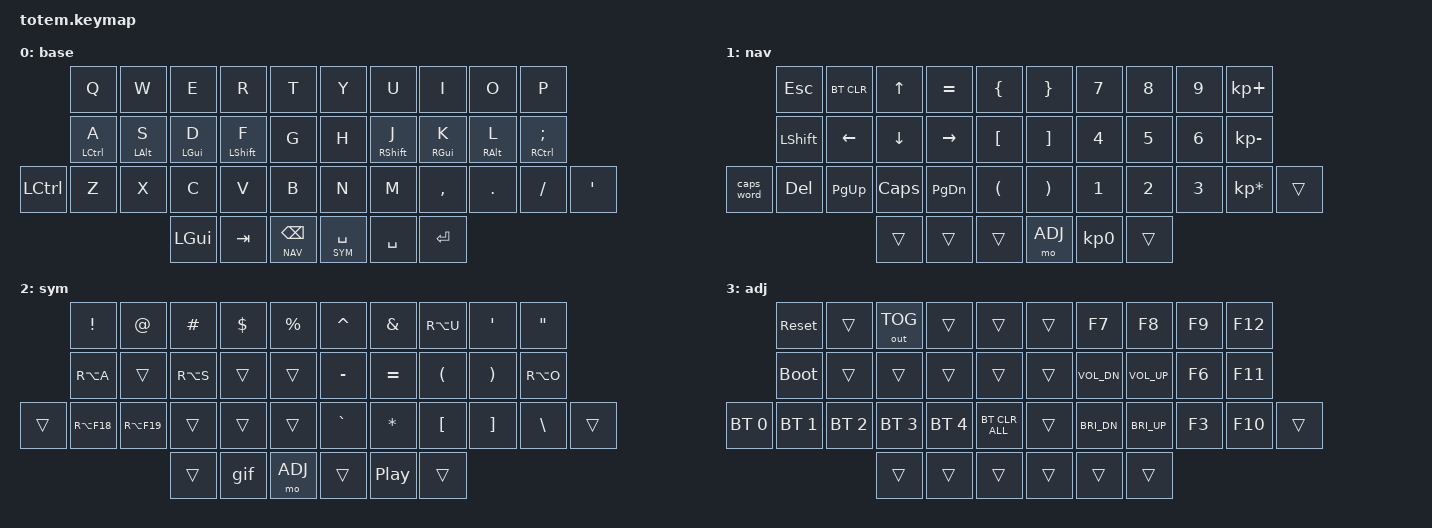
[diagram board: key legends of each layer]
//
//                                                        ▀▀▀▀▀     ▀▀▀▀▀          ▀▀█▀▀
//                                                        ▄▀▀▀▄  ▄  ▄▀▀▀▄  ▄  ▄▀▀▀▄  █  ▄▀▀▀▄
//                                                        █   █  █  █   █  █  █   █  █  █   █
//                                                         ▀▀▀   █   ▀▀▀   █   ▀▀▀   ▀   ▀▀▀
//                                                               █      ▄▄▄█▄▄▄    █   █  
//                                                               ▀      █  █  █     █▄█
//                                                             ▀▀▀▀▀    █  █  █      ▀
//                                                                      ▀  ▀  ▀
//
// ▄▄▄▄▄▄▄▄▄▄▄▄▄▄▄▄▄▄▄▄▄▄▄▄▄▄▄▄▄▄▄▄▄▄▄▄▄▄▄▄▄▄▄▄▄▄▄▄▄▄▄▄▄▄▄▄▄▄▄▄▄▄▄▄▄▄▄▄▄▄▄▄▄▄▄▄▄▄▄▄▄▄▄▄▄▄▄▄▄▄▄▄▄▄▄▄▄▄▄▄▄▄▄▄▄▄▄▄▄▄▄▄▄▄▄▄▄▄▄▄▄▄▄▄▄▄▄▄▄▄▄▄▄▄▄▄▄▄▄▄▄▄▄▄▄▄▄▄▄

#include <behaviors.dtsi>
#include <dt-bindings/zmk/bt.h>
#include <dt-bindings/zmk/keys.h>
#include <dt-bindings/zmk/outputs.h>
#include <dt-bindings/zmk/pointing.h>

#define BASE 0
#define NAV  1
#define SYM  2
#define ADJ  3

&mt {
    quick-tap-ms = <100>;
    global-quick-tap;
    flavor = "tap-preferred";
    tapping-term-ms = <170>;
};

/ {
    combos {
        compatible = "zmk,combos";

        combo_esc {
            timeout-ms = <50>;
            key-positions = <0 1>;
            bindings = <&kp ESC>;
        };
    };

    macros {
        gif: gif {
            label = "giphy";
            compatible = "zmk,behavior-macro";
            #binding-cells = <0>;
            bindings =
                <&macro_press>,
                <&kp LSHFT>,
                <&macro_tap>,
                <&kp N2>,
                <&macro_release>,
                <&kp LSHFT>,
                <&macro_tap>,
                <&kp G &kp I &kp F>;
        };
    };

    keymap {
        compatible = "zmk,keymap";

        // ▄▄▄▄▄▄▄▄▄▄▄▄▄▄▄▄▄▄▄▄▄▄▄▄▄▄▄▄▄▄▄▄▄▄▄▄▄▄▄▄▄▄▄▄▄▄▄▄▄▄▄▄▄▄▄▄▄▄▄▄▄▄▄▄▄▄▄▄▄▄▄▄▄▄▄▄▄▄▄▄▄▄▄▄▄▄▄▄▄▄▄▄▄▄▄▄▄▄▄▄▄▄▄▄▄▄▄▄▄▄▄▄▄▄▄▄▄▄▄▄▄▄▄▄▄▄▄▄▄▄▄▄▄▄▄▄▄▄▄▄▄▄▄▄▄▄▄▄▄

        base_layer {
            display-name = "base";
            // ┏━━━━━━━━━━━━━━━━━━━━━━━━━━━━━━━━━━━━━━━┓

            label = "BASE";

            // ┗━━━━━━━━━━━━━━━━━━━━━━━━━━━━━━━━━━━━━━━┛
            //             ┏━━━━━━━━━━━┳━━━━━━━━━━━┳━━━━━━━━━━━┳━━━━━━━━━━━┳━━━━━━━━━━━┓   ┏━━━━━━━━━━━┳━━━━━━━━━━━┳━━━━━━━━━━━┳━━━━━━━━━━━┳━━━━━━━━━━━┓
            //             ┃     Q     ┃     W     ┃     F     ┃     P     ┃     G     ┃   ┃     J     ┃     L     ┃     U     ┃     Y     ┃     ;     ┃
            //             ┣━━━━━━━━━━━╋━━━━━━━━━━━╋━━━━━━━━━━━╋━━━━━━━━━━━╋━━━━━━━━━━━┫   ┣━━━━━━━━━━━╋━━━━━━━━━━━╋━━━━━━━━━━━╋━━━━━━━━━━━╋━━━━━━━━━━━┫
            //             ┃     A     ┃     R     ┃     S     ┃     T     ┃     D     ┃   ┃     H     ┃     N     ┃     E     ┃     I     ┃     O     ┃
            // ┏━━━━━━━━━━━╋━━━━━━━━━━━╋━━━━━━━━━━━╋━━━━━━━━━━━╋━━━━━━━━━━━╋━━━━━━━━━━━┫   ┣━━━━━━━━━━━╋━━━━━━━━━━━╋━━━━━━━━━━━╋━━━━━━━━━━━╋━━━━━━━━━━━╋━━━━━━━━━━━┓
            // ┃           ┃     Z     ┃     X     ┃     C     ┃     V     ┃     B     ┃   ┃     K     ┃     M     ┃     ,     ┃     .     ┃     /     ┃           ┃
            // ┗━━━━━━━━━━━┻━━━━━━━━━━━┻━━━━━━━━━━━╋━━━━━━━━━━━╋━━━━━━━━━━━╋━━━━━━━━━━━┫   ┣━━━━━━━━━━━╋━━━━━━━━━━━╋━━━━━━━━━━━╋━━━━━━━━━━━┻━━━━━━━━━━━┻━━━━━━━━━━━┛
            //                                     ┃           ┃    TAB    ┃   BSPC    ┃   ┃    SPC    ┃    SPC    ┃   ENTER   ┃
            //                                     ┗━━━━━━━━━━━┻━━━━━━━━━━━┻━━━━━━━━━━━┛   ┗━━━━━━━━━━━┻━━━━━━━━━━━┻━━━━━━━━━━━┛

            bindings = <
                  &kp Q        &kp W       &kp E         &kp R        &kp T            &kp Y          &kp U        &kp I         &kp O       &kp P
                  &mt LCTRL A  &mt LALT S  &mt LGUI D    &mt LSHFT F  &kp G            &kp H          &mt RSHFT J  &mt RGUI K    &mt RALT L  &mt RCTRL SEMI
&kp LEFT_CONTROL  &kp Z        &kp X       &kp C         &kp V        &kp B            &kp N          &kp M        &kp COMMA     &kp DOT     &kp SLASH       &kp APOS
                                           &kp LEFT_GUI  &kp TAB      &lt NAV BSPC     &lt SYM SPACE  &kp SPACE    &kp RET
            >;
        };

        // ▄▄▄▄▄▄▄▄▄▄▄▄▄▄▄▄▄▄▄▄▄▄▄▄▄▄▄▄▄▄▄▄▄▄▄▄▄▄▄▄▄▄▄▄▄▄▄▄▄▄▄▄▄▄▄▄▄▄▄▄▄▄▄▄▄▄▄▄▄▄▄▄▄▄▄▄▄▄▄▄▄▄▄▄▄▄▄▄▄▄▄▄▄▄▄▄▄▄▄▄▄▄▄▄▄▄▄▄▄▄▄▄▄▄▄▄▄▄▄▄▄▄▄▄▄▄▄▄▄▄▄▄▄▄▄▄▄▄▄▄▄▄▄▄▄▄▄▄▄

        nav_layer {
            display-name = "nav";
            // ┏━━━━━━━━━━━━━━━━━━━━━━━━━━━━━━━━━━━━━━━┓

            label = "NAVI";

            // ┗━━━━━━━━━━━━━━━━━━━━━━━━━━━━━━━━━━━━━━━┛
            //             ┏━━━━━━━━━━━┳━━━━━━━━━━━┳━━━━━━━━━━━┳━━━━━━━━━━━┳━━━━━━━━━━━┓   ┏━━━━━━━━━━━┳━━━━━━━━━━━┳━━━━━━━━━━━┳━━━━━━━━━━━┳━━━━━━━━━━━┓
            //             ┃           ┃           ┃     UP    ┃           ┃     {     ┃   ┃     }     ┃     7     ┃     8     ┃     9     ┃     +     ┃
            //             ┣━━━━━━━━━━━╋━━━━━━━━━━━╋━━━━━━━━━━━╋━━━━━━━━━━━╋━━━━━━━━━━━┫   ┣━━━━━━━━━━━╋━━━━━━━━━━━╋━━━━━━━━━━━╋━━━━━━━━━━━╋━━━━━━━━━━━┫
            //             ┃   SHIFT   ┃   LEFT    ┃    DOWN   ┃   RIGHT   ┃     [     ┃   ┃     ]     ┃     4     ┃     5     ┃     6     ┃     -     ┃
            // ┏━━━━━━━━━━━╋━━━━━━━━━━━╋━━━━━━━━━━━╋━━━━━━━━━━━╋━━━━━━━━━━━╋━━━━━━━━━━━┫   ┣━━━━━━━━━━━╋━━━━━━━━━━━╋━━━━━━━━━━━╋━━━━━━━━━━━╋━━━━━━━━━━━╋━━━━━━━━━━━┓
            // ┃           ┃           ┃   P UP    ┃  C LOCK   ┃  P DOWN   ┃     (     ┃   ┃     )     ┃     1     ┃     2     ┃     3     ┃     *     ┃           ┃
            // ┗━━━━━━━━━━━┻━━━━━━━━━━━┻━━━━━━━━━━━╋━━━━━━━━━━━╋━━━━━━━━━━━╋━━━━━━━━━━━┫   ┣━━━━━━━━━━━╋━━━━━━━━━━━╋━━━━━━━━━━━╋━━━━━━━━━━━┻━━━━━━━━━━━┻━━━━━━━━━━━┛
            //                                     ┃           ┃    TAB    ┃    SPC    ┃   ┃    DEL    ┃     0     ┃           ┃
            //                                     ┗━━━━━━━━━━━┻━━━━━━━━━━━┻━━━━━━━━━━━┛   ┗━━━━━━━━━━━┻━━━━━━━━━━━┻━━━━━━━━━━━┛

            bindings = <
            &kp ESC    &bt BT_CLR  &kp UP    &kp EQUAL  &kp LBRC    &kp RBRC  &kp N7        &kp N8        &kp N9        &kp KP_PLUS
            &kp LSHFT  &kp LEFT    &kp DOWN  &kp RIGHT  &kp LBKT    &kp RBKT  &kp NUMBER_4  &kp N5        &kp NUMBER_6  &kp KP_MINUS
&caps_word  &kp DEL    &kp PG_UP   &kp CAPS  &kp PG_DN  &kp LPAR    &kp RPAR  &kp NUMBER_1  &kp NUMBER_2  &kp NUMBER_3  &kp KP_MULTIPLY  &trans
                                   &trans    &trans     &trans      &mo ADJ   &kp KP_N0     &trans
            >;
        };

        // ▄▄▄▄▄▄▄▄▄▄▄▄▄▄▄▄▄▄▄▄▄▄▄▄▄▄▄▄▄▄▄▄▄▄▄▄▄▄▄▄▄▄▄▄▄▄▄▄▄▄▄▄▄▄▄▄▄▄▄▄▄▄▄▄▄▄▄▄▄▄▄▄▄▄▄▄▄▄▄▄▄▄▄▄▄▄▄▄▄▄▄▄▄▄▄▄▄▄▄▄▄▄▄▄▄▄▄▄▄▄▄▄▄▄▄▄▄▄▄▄▄▄▄▄▄▄▄▄▄▄▄▄▄▄▄▄▄▄▄▄▄▄▄▄▄▄▄▄▄

        sim_layer {
            display-name = "sym";
            // ┏━━━━━━━━━━━━━━━━━━━━━━━━━━━━━━━━━━━━━━━┓

            label = "SYM";

            // ┗━━━━━━━━━━━━━━━━━━━━━━━━━━━━━━━━━━━━━━━┛
            //             ┏━━━━━━━━━━━┳━━━━━━━━━━━┳━━━━━━━━━━━┳━━━━━━━━━━━┳━━━━━━━━━━━┓   ┏━━━━━━━━━━━┳━━━━━━━━━━━┳━━━━━━━━━━━┳━━━━━━━━━━━┳━━━━━━━━━━━┓
            //             ┃     !     ┃     @     ┃     #     ┃     $     ┃     %     ┃   ┃     ˆ     ┃     &     ┃     Ü     ┃     '     ┃     "     ┃
            //             ┣━━━━━━━━━━━╋━━━━━━━━━━━╋━━━━━━━━━━━╋━━━━━━━━━━━╋━━━━━━━━━━━┫   ┣━━━━━━━━━━━╋━━━━━━━━━━━╋━━━━━━━━━━━╋━━━━━━━━━━━╋━━━━━━━━━━━┫
            //             ┃     Ä     ┃           ┃    SZ     ┃           ┃           ┃   ┃   MUTE    ┃   YEN     ┃   EURO    ┃  POUND    ┃     Ö     ┃
            // ┏━━━━━━━━━━━╋━━━━━━━━━━━╋━━━━━━━━━━━╋━━━━━━━━━━━╋━━━━━━━━━━━╋━━━━━━━━━━━┫   ┣━━━━━━━━━━━╋━━━━━━━━━━━╋━━━━━━━━━━━╋━━━━━━━━━━━╋━━━━━━━━━━━╋━━━━━━━━━━━┓
            // ┃           ┃  EMAIL1   ┃  EMAIL2   ┃           ┃           ┃           ┃   ┃   VOL-    ┃   VOL+    ┃   LAST    ┃   NEXT    ┃     \     ┃           ┃
            // ┗━━━━━━━━━━━┻━━━━━━━━━━━┻━━━━━━━━━━━╋━━━━━━━━━━━╋━━━━━━━━━━━╋━━━━━━━━━━━┫   ┣━━━━━━━━━━━╋━━━━━━━━━━━╋━━━━━━━━━━━╋━━━━━━━━━━━┻━━━━━━━━━━━┻━━━━━━━━━━━┛
            //                                     ┃           ┃    GIF    ┃    ADJ    ┃   ┃           ┃           ┃           ┃
            //                                     ┗━━━━━━━━━━━┻━━━━━━━━━━━┻━━━━━━━━━━━┛   ┗━━━━━━━━━━━┻━━━━━━━━━━━┻━━━━━━━━━━━┛

            bindings = <
        &kp EXCL     &kp AT       &kp HASH   &kp DLLR  &kp PRCNT    &kp CARET  &kp AMPS      &kp RA(U)             &kp SQT                &kp DQT
        &kp RA(A)    &trans       &kp RA(S)  &trans    &trans       &kp MINUS  &kp EQUAL     &kp LEFT_PARENTHESIS  &kp RIGHT_PARENTHESIS  &kp RA(O)
&trans  &kp RA(F18)  &kp RA(F19)  &trans     &trans    &trans       &kp GRAVE  &kp ASTERISK  &kp LEFT_BRACKET      &kp RIGHT_BRACKET      &kp BSLH   &trans
                                  &trans     &gif      &mo ADJ      &trans     &kp C_PP      &trans
            >;
        };

        // ▄▄▄▄▄▄▄▄▄▄▄▄▄▄▄▄▄▄▄▄▄▄▄▄▄▄▄▄▄▄▄▄▄▄▄▄▄▄▄▄▄▄▄▄▄▄▄▄▄▄▄▄▄▄▄▄▄▄▄▄▄▄▄▄▄▄▄▄▄▄▄▄▄▄▄▄▄▄▄▄▄▄▄▄▄▄▄▄▄▄▄▄▄▄▄▄▄▄▄▄▄▄▄▄▄▄▄▄▄▄▄▄▄▄▄▄▄▄▄▄▄▄▄▄▄▄▄▄▄▄▄▄▄▄▄▄▄▄▄▄▄▄▄▄▄▄▄▄▄

        adjust_layer {
            display-name = "adj";
            // ┏━━━━━━━━━━━━━━━━━━━━━━━━━━━━━━━━━━━━━━━┓

            label = "ADJ";

            // ┗━━━━━━━━━━━━━━━━━━━━━━━━━━━━━━━━━━━━━━━┛
            //             ┏━━━━━━━━━━━┳━━━━━━━━━━━┳━━━━━━━━━━━┳━━━━━━━━━━━┳━━━━━━━━━━━┓   ┏━━━━━━━━━━━┳━━━━━━━━━━━┳━━━━━━━━━━━┳━━━━━━━━━━━┳━━━━━━━━━━━┓
            //             ┃   RESET   ┃ BT CLEAR  ┃  OUT TOG  ┃           ┃           ┃   ┃           ┃    F7     ┃    F8     ┃    F9     ┃    F12    ┃
            //             ┣━━━━━━━━━━━╋━━━━━━━━━━━╋━━━━━━━━━━━╋━━━━━━━━━━━╋━━━━━━━━━━━┫   ┣━━━━━━━━━━━╋━━━━━━━━━━━╋━━━━━━━━━━━╋━━━━━━━━━━━╋━━━━━━━━━━━┫
            //             ┃ BOOTLOAD  ┃ BT NEXT   ┃           ┃           ┃           ┃   ┃           ┃ VOL DOWN  ┃  VOL UP   ┃    F6     ┃    F11    ┃
            // ┏━━━━━━━━━━━╋━━━━━━━━━━━╋━━━━━━━━━━━╋━━━━━━━━━━━╋━━━━━━━━━━━╋━━━━━━━━━━━┫   ┣━━━━━━━━━━━╋━━━━━━━━━━━╋━━━━━━━━━━━╋━━━━━━━━━━━╋━━━━━━━━━━━╋━━━━━━━━━━━┓
            // ┃           ┃           ┃ BT PREV   ┃           ┃           ┃           ┃   ┃           ┃ BRT DOWN  ┃  BRT UP   ┃    F3     ┃    F10    ┃           ┃
            // ┗━━━━━━━━━━━┻━━━━━━━━━━━┻━━━━━━━━━━━╋━━━━━━━━━━━╋━━━━━━━━━━━╋━━━━━━━━━━━┫   ┣━━━━━━━━━━━╋━━━━━━━━━━━╋━━━━━━━━━━━╋━━━━━━━━━━━┻━━━━━━━━━━━┻━━━━━━━━━━━┛
            //                                     ┃           ┃           ┃           ┃   ┃           ┃           ┃           ┃
            //                                     ┗━━━━━━━━━━━┻━━━━━━━━━━━┻━━━━━━━━━━━┛   ┗━━━━━━━━━━━┻━━━━━━━━━━━┻━━━━━━━━━━━┛

            bindings = <
              &sys_reset    &trans        &out OUT_TOG  &trans        &trans            &trans  &kp F7        &kp F8        &kp F9  &kp F12
              &bootloader   &trans        &trans        &trans        &trans            &trans  &kp C_VOL_DN  &kp C_VOL_UP  &kp F6  &kp F11
&bt BT_SEL 0  &bt BT_SEL 1  &bt BT_SEL 2  &bt BT_SEL 3  &bt BT_SEL 4  &bt BT_CLR_ALL    &trans  &kp C_BRI_DN  &kp C_BRI_UP  &kp F3  &kp F10  &trans
                                          &trans        &trans        &trans            &trans  &trans        &trans
            >;
        };
    };
};
